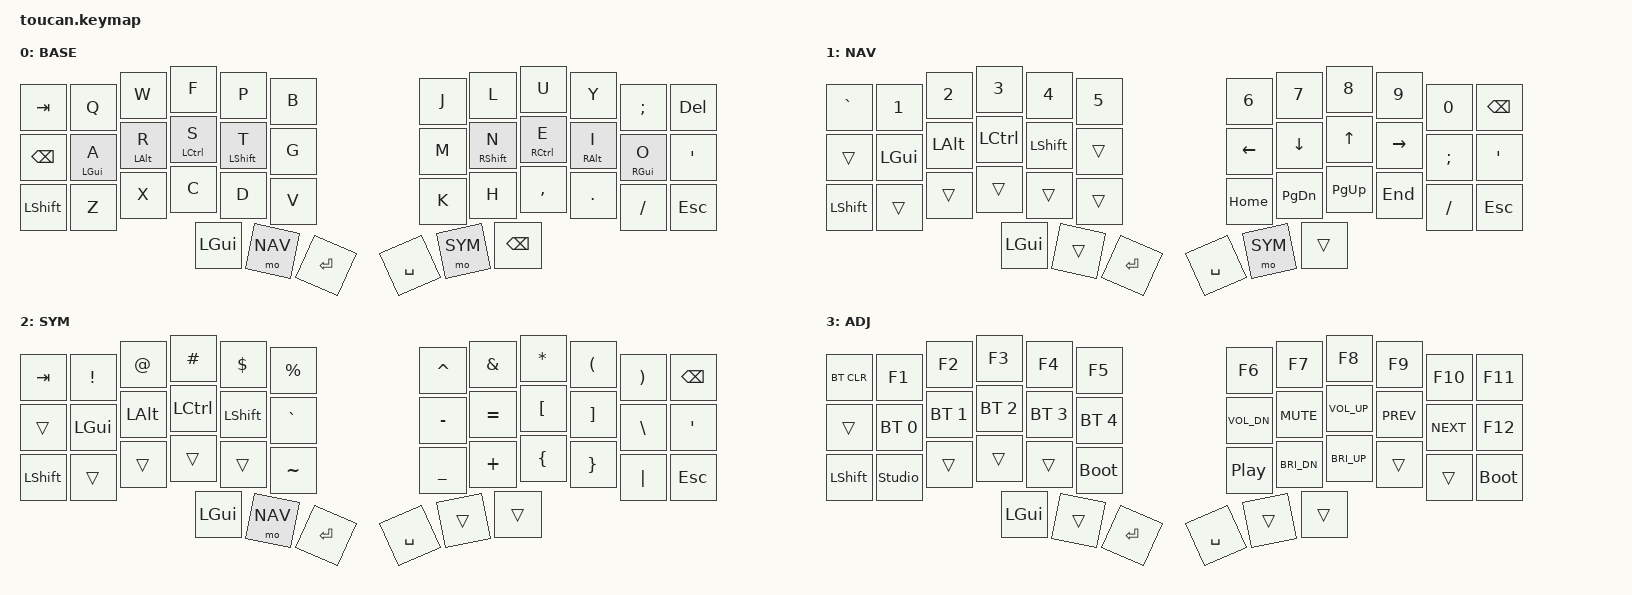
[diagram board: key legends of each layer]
#include <behaviors.dtsi>
#include <dt-bindings/zmk/keys.h>
#include <dt-bindings/zmk/bt.h>
#include <dt-bindings/zmk/outputs.h>

#define BASE 0
#define NAV  1
#define SYM  2
#define ADJ  3

// Key position groups for positional home-row mods.
// Hold only triggers when the next key is on the opposite hand (or a thumb),
// which suppresses misfires during same-hand alpha rolls.
#define KEYS_L 0 1 2 3 4 5 12 13 14 15 16 17 24 25 26 27 28 29
#define KEYS_R 6 7 8 9 10 11 18 19 20 21 22 23 30 31 32 33 34 35
#define THUMBS 36 37 38 39 40 41

/ {
    behaviors {
        // Left-hand home-row mod: GUI/ALT/CTRL/SHIFT under A R S T
        hml: home_row_mod_left {
            compatible = "zmk,behavior-hold-tap";
            #binding-cells = <2>;
            flavor = "balanced";
            tapping-term-ms = <200>;
            quick-tap-ms = <175>;
            require-prior-idle-ms = <175>;
            bindings = <&kp>, <&kp>;
            hold-trigger-key-positions = <KEYS_R THUMBS>;
            hold-trigger-on-release;
        };
        // Right-hand home-row mod: SHIFT/CTRL/ALT/GUI under N E I O
        hmr: home_row_mod_right {
            compatible = "zmk,behavior-hold-tap";
            #binding-cells = <2>;
            flavor = "balanced";
            tapping-term-ms = <200>;
            quick-tap-ms = <175>;
            require-prior-idle-ms = <175>;
            bindings = <&kp>, <&kp>;
            hold-trigger-key-positions = <KEYS_L THUMBS>;
            hold-trigger-on-release;
        };
    };

    conditional_layers {
        compatible = "zmk,conditional-layers";
        tri_layer {
            if-layers = <NAV SYM>;
            then-layer = <ADJ>;
        };
    };

    keymap {
        compatible = "zmk,keymap";

        base {
            display-name = "BASE";
            bindings = <
                &kp TAB     &kp Q       &kp W       &kp F        &kp P        &kp B      &kp J  &kp L         &kp U         &kp Y       &kp SEMI &kp DEL
                &kp BSPC    &hml LGUI A &hml LALT R &hml LCTRL S &hml LSHFT T &kp G      &kp M  &hmr RSHFT N  &hmr RCTRL E  &hmr RALT I &hmr RGUI O &kp SQT
                &kp LSHFT   &kp Z       &kp X       &kp C        &kp D        &kp V      &kp K  &kp H         &kp COMMA     &kp DOT     &kp FSLH &kp ESC
                                                    &kp LGUI     &mo NAV      &kp RET   &kp SPACE &mo SYM     &kp BSPC
            >;
        };

        nav {
            display-name = "NAV";
            bindings = <
                &kp GRAVE  &kp N1   &kp N2   &kp N3    &kp N4    &kp N5     &kp N6   &kp N7    &kp N8    &kp N9    &kp N0   &kp BSPC
                &trans     &kp LGUI &kp LALT &kp LCTRL &kp LSHFT &trans     &kp LEFT &kp DOWN  &kp UP    &kp RIGHT &kp SEMI &kp SQT
                &kp LSHFT  &trans   &trans   &trans    &trans    &trans     &kp HOME &kp PG_DN &kp PG_UP &kp END   &kp FSLH &kp ESC
                                             &kp LGUI  &trans    &kp RET   &kp SPACE  &mo SYM  &trans
            >;
        };

        sym {
            display-name = "SYM";
            bindings = <
                &kp TAB    &kp EXCL &kp AT   &kp HASH  &kp DLLR  &kp PRCNT   &kp CARET &kp AMPS  &kp ASTRK &kp LPAR &kp RPAR &kp BSPC
                &trans     &kp LGUI &kp LALT &kp LCTRL &kp LSHFT &kp GRAVE   &kp MINUS &kp EQUAL &kp LBKT  &kp RBKT &kp BSLH &kp SQT
                &kp LSHFT  &trans   &trans   &trans    &trans    &kp TILDE   &kp UNDER &kp PLUS  &kp LBRC  &kp RBRC &kp PIPE &kp ESC
                                            &kp LGUI  &mo NAV   &kp RET   &kp SPACE   &trans    &trans
            >;
        };

        adj {
            display-name = "ADJ";
            bindings = <
                &bt BT_CLR &kp F1         &kp F2       &kp F3       &kp F4       &kp F5         &kp F6      &kp F7       &kp F8       &kp F9     &kp F10   &kp F11
                &trans     &bt BT_SEL 0   &bt BT_SEL 1 &bt BT_SEL 2 &bt BT_SEL 3 &bt BT_SEL 4   &kp C_VOL_DN &kp C_MUTE  &kp C_VOL_UP &kp C_PREV &kp C_NEXT &kp F12
                &kp LSHFT  &studio_unlock &trans       &trans       &trans       &bootloader    &kp C_PP    &kp C_BRI_DN &kp C_BRI_UP &trans     &trans    &bootloader
                                                       &kp LGUI     &trans       &kp RET      &kp SPACE     &trans       &trans
            >;
        };

        extra_1 {
                status = "reserved";
        };

        extra_2 {
                status = "reserved";
        };

        extra_3 {
                status = "reserved";
        };
    };
};
